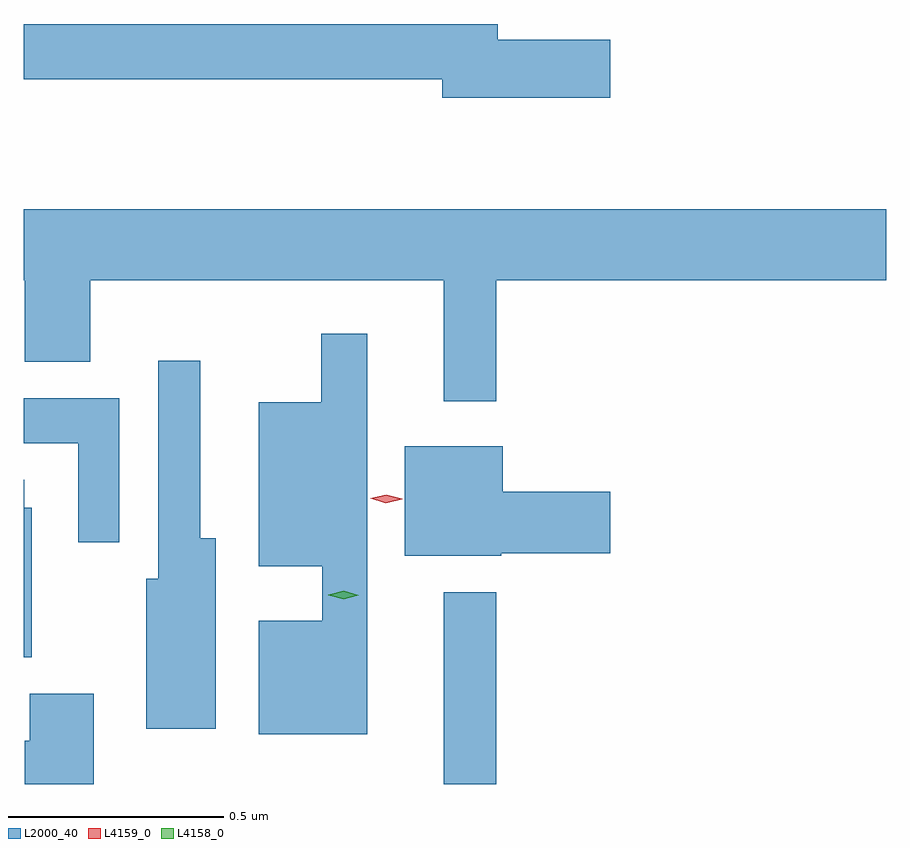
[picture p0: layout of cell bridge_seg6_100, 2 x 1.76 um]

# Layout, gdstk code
import gdstk
lib = gdstk.Library(unit=1e-6, precision=1e-09)
def R(c, l, rs):  # rectangles x0, y0, x1, y1
    for r in rs: c.add(gdstk.rectangle(r[:2], r[2:], *l))
def P(c, l, *ps):  # polygons
    for p in ps: c.add(gdstk.Polygon(p, *l))
L2000_40 = (2000, 40)
L4158_0 = (4158, 0)
L4159_0 = (4159, 0)

bridge_seg6_100 = lib.new_cell('bridge_seg6_100')
R(bridge_seg6_100, L2000_40, [(630.881,938.176,631.003,938.62)])
P(bridge_seg6_100, L2000_40, [(631.267,939.902),(631.006,939.902),(631.006,939.938),(629.907,939.938),(629.907,939.81),(630.878,939.81),(630.878,939.767),(631.267,939.767)],
  [(631.003,939.344),(631.907,939.344),(631.907,939.508),(629.907,939.508),(629.907,939.344),(629.909,939.344),(629.909,939.155),(630.061,939.155),(630.061,939.344),(630.881,939.344),(630.881,939.063),(631.003,939.063)],
  [(630.703,939.22),(630.597,939.22),(630.597,939.061),(630.452,939.061),(630.452,938.681),(630.599,938.681),(630.599,938.554),(630.452,938.554),(630.452,938.291),(630.703,938.291)],
  [(630.352,938.746),(630.316,938.746),(630.316,939.157),(630.219,939.157),(630.219,938.652),(630.191,938.652),(630.191,938.304),(630.352,938.304)],
  [(630.129,939.07),(629.907,939.07),(629.907,938.966),(630.033,938.966),(630.033,938.736),(630.129,938.736)],
  [(631.014,938.711),(631.267,938.711),(631.267,938.853),(631.018,938.853),(631.018,938.959),(630.791,938.959),(630.791,938.705),(631.014,938.705)],
  [(629.926,938.817),(629.908,938.817),(629.908,938.881),(629.907,938.881),(629.907,938.47),(629.926,938.47)],
  [(629.921,938.385),(629.921,938.276),(629.909,938.276),(629.909,938.176),(630.069,938.176),(630.069,938.385)])
P(bridge_seg6_100, L4158_0, [(630.649,938.604),(630.613,938.614),(630.613,938.614),(630.613,938.615),(630.649,938.624),(630.684,938.614),(630.684,938.614),(630.684,938.614)])
P(bridge_seg6_100, L4159_0, [(630.747,938.827),(630.71,938.838),(630.71,938.838),(630.71,938.838),(630.748,938.847),(630.785,938.837),(630.785,938.836),(630.785,938.836)])

lib.write_gds('bridge_seg6_100.gds')
